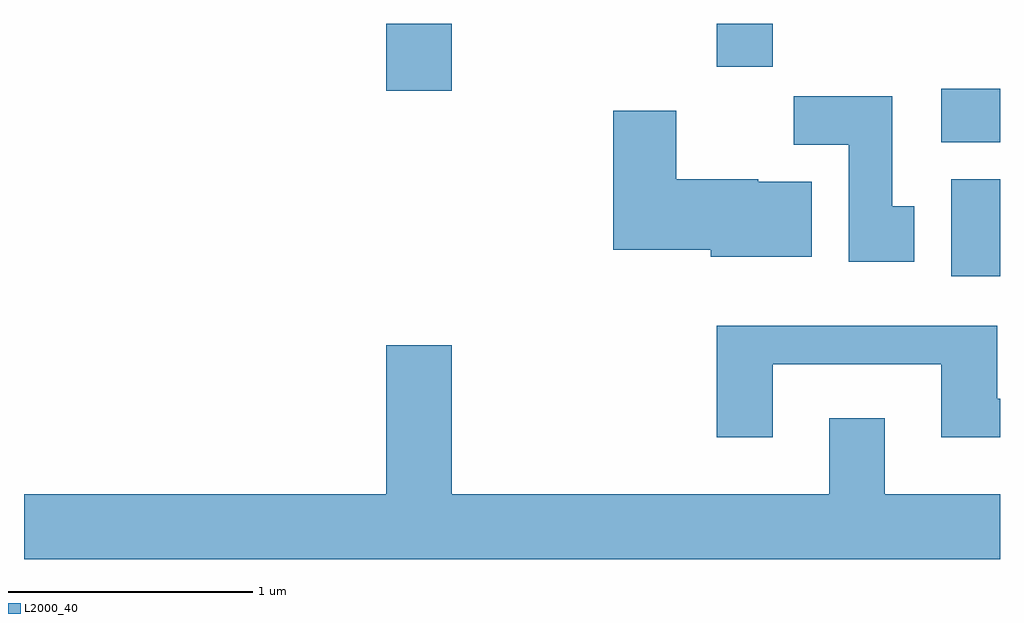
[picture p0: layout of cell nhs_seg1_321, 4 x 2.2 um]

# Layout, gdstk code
import gdstk
lib = gdstk.Library(unit=1e-6, precision=1e-09)
def R(c, l, rs):  # rectangles x0, y0, x1, y1
    for r in rs: c.add(gdstk.rectangle(r[:2], r[2:], *l))
def P(c, l, *ps):  # polygons
    for p in ps: c.add(gdstk.Polygon(p, *l))
L2000_40 = (2000, 40)

nhs_seg1_321 = lib.new_cell('nhs_seg1_321')
R(nhs_seg1_321, L2000_40, [(197.411,960.676,197.611,961.074), (197.371,961.226,197.611,961.444), (195.096,961.436,195.364,961.712), (196.451,961.536,196.679,961.712)])
P(nhs_seg1_321, L2000_40, [(197.259,960.964),(197.169,960.964),(197.169,961.414),(196.766,961.414),(196.766,961.216),(196.991,961.216),(196.991,960.736),(197.259,960.736)],
  [(196.839,961.064),(196.62,961.064),(196.62,961.074),(196.284,961.074),(196.284,961.354),(196.026,961.354),(196.026,960.786),(196.426,960.786),(196.426,960.756),(196.839,960.756)],
  [(196.679,960.316),(197.371,960.316),(197.371,960.016),(197.611,960.016),(197.611,960.174),(197.599,960.174),(197.599,960.474),(196.451,960.474),(196.451,960.016),(196.679,960.016)],
  [(197.611,959.784),(197.139,959.784),(197.139,960.094),(196.911,960.094),(196.911,959.784),(195.364,959.784),(195.364,960.394),(195.096,960.394),(195.096,959.784),(193.611,959.784),(193.611,959.516),(197.611,959.516)])

lib.write_gds('nhs_seg1_321.gds')
